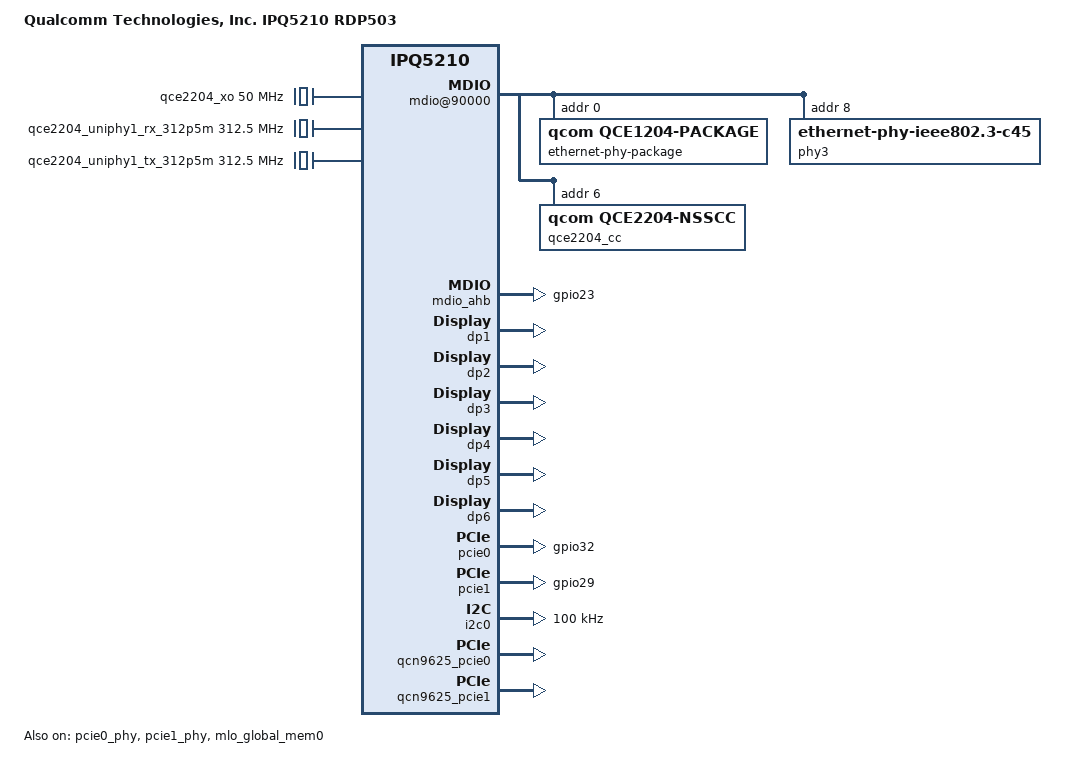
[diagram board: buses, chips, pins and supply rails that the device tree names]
// SPDX-License-Identifier: (GPL-2.0+ OR BSD-3-Clause)
/*
 * IPQ5210 RDP503 board device tree source
 *
 * Copyright (c) 2020-2021 The Linux Foundation. All rights reserved.
 * Copyright (c) Qualcomm Technologies, Inc. and/or its subsidiaries.
 */

/dts-v1/;

#include "ipq5210-rdp-common.dtsi"
#include <dt-bindings/clock/qcom,qce2204-nsscc.h>
#include <dt-bindings/reset/qcom,qce2204-nsscc.h>
#include "ipq5210-default-memory.dtsi"

/ {
	model = "Qualcomm Technologies, Inc. IPQ5210 RDP503";
	compatible = "qcom,ipq5210-rdp503", "qcom,ipq5210";

	aliases {
		serial0 = &uart1;
		ethernet0 = "/soc/dp1";
		ethernet1 = "/soc/dp2";
		ethernet2 = "/soc/dp3";
		ethernet3 = "/soc/dp4";
		ethernet4 = "/soc/dp5";
		ethernet5 = "/soc/dp6";
	};

	clocks {
		qce2204_xo: qce2204-xo {
			compatible = "fixed-clock";
			clock-frequency = <50000000>;
			#clock-cells = <0>;
		};

		qce2204_uniphy1_rx_312p5m: qce2204-uniphy1-rx-312p5m {
			compatible = "fixed-clock";
			clock-frequency = <312500000>;
			#clock-cells = <0>;
		};

		qce2204_uniphy1_tx_312p5m: qce2204-uniphy1-tx-312p5m {
			compatible = "fixed-clock";
			clock-frequency = <312500000>;
			#clock-cells = <0>;
		};
	};

	soc@0 {
		mdio@90000 {
			status = "okay";
			pinctrl-0 = <&mdio_pins &pon_cmn_pins &xgspon_pins>;
			pinctrl-names = "default";

			/* gpio reset for PHYs */
			phy-reset-gpio = <
				&tlmm 24 GPIO_ACTIVE_LOW
				&tlmm 45 GPIO_ACTIVE_LOW
			>;
			ethernet-phy-package@0 {
				compatible = "qcom,qce1204-package";
				#address-cells = <1>;
				#size-cells = <0>;
				reg = <0>;
				qcom,package-mode = "qusgmii";
				clocks =<&qce2204_cc QCE2204_NSSCC_SRDS1_SYS_CLK>,
					<&qce2204_cc QCE2204_NSSCC_MAC1_SRDS1_CH0_TX_CLK>,
					<&qce2204_cc QCE2204_NSSCC_MAC1_SRDS1_CH0_RX_CLK>,
					<&qce2204_cc QCE2204_NSSCC_MAC0_1_SRDS1_CH0_XGMII_TX_CLK>,
					<&qce2204_cc QCE2204_NSSCC_MAC0_1_SRDS1_CH0_XGMII_RX_CLK>,
					<&qce2204_cc QCE2204_NSSCC_MAC2_SRDS1_CH1_TX_CLK>,
					<&qce2204_cc QCE2204_NSSCC_MAC2_SRDS1_CH1_RX_CLK>,
					<&qce2204_cc QCE2204_NSSCC_MAC2_SRDS1_CH1_XGMII_TX_CLK>,
					<&qce2204_cc QCE2204_NSSCC_MAC2_SRDS1_CH1_XGMII_RX_CLK>,
					<&qce2204_cc QCE2204_NSSCC_MAC3_SRDS1_CH2_TX_CLK>,
					<&qce2204_cc QCE2204_NSSCC_MAC3_SRDS1_CH2_RX_CLK>,
					<&qce2204_cc QCE2204_NSSCC_MAC3_SRDS1_CH2_XGMII_TX_CLK>,
					<&qce2204_cc QCE2204_NSSCC_MAC3_SRDS1_CH2_XGMII_RX_CLK>,
					<&qce2204_cc QCE2204_NSSCC_AHB_CLK>,
					<&qce2204_uniphy1_rx_312p5m>,
					<&qce2204_uniphy1_tx_312p5m>;
				clock-names = "pcs_sys_clk",
					      "ch0_gmii_tx_clk",
					      "ch0_gmii_rx_clk",
					      "ch0_xgmii_tx_clk",
					      "ch0_xgmii_rx_clk",
					      "ch1_gmii_tx_clk",
					      "ch1_gmii_rx_clk",
					      "ch1_xgmii_tx_clk",
					      "ch1_xgmii_rx_clk",
					      "ch2_gmii_tx_clk",
					      "ch2_gmii_rx_clk",
					      "ch2_xgmii_tx_clk",
					      "ch2_xgmii_rx_clk",
					      "ahb_clk",
					      "tx_parent",
					      "rx_parent";
				resets = <&qce2204_cc QCE2204_NSSCC_SRDS1_SYS_ARES>,
					 <&qce2204_cc QCE2204_NSSCC_MAC1_SRDS1_CH0_TX_ARES>,
					 <&qce2204_cc QCE2204_NSSCC_MAC1_SRDS1_CH0_RX_ARES>,
					 <&qce2204_cc QCE2204_NSSCC_MAC0_1_SRDS1_CH0_XGMII_TX_ARES>,
					 <&qce2204_cc QCE2204_NSSCC_MAC0_1_SRDS1_CH0_XGMII_RX_ARES>,
					 <&qce2204_cc QCE2204_NSSCC_MAC2_SRDS1_CH1_TX_ARES>,
					 <&qce2204_cc QCE2204_NSSCC_MAC2_SRDS1_CH1_RX_ARES>,
					 <&qce2204_cc QCE2204_NSSCC_MAC2_SRDS1_CH1_XGMII_TX_ARES>,
					 <&qce2204_cc QCE2204_NSSCC_MAC2_SRDS1_CH1_XGMII_RX_ARES>,
					 <&qce2204_cc QCE2204_NSSCC_MAC3_SRDS1_CH2_TX_ARES>,
					 <&qce2204_cc QCE2204_NSSCC_MAC3_SRDS1_CH2_RX_ARES>,
					 <&qce2204_cc QCE2204_NSSCC_MAC3_SRDS1_CH2_XGMII_TX_ARES>,
					 <&qce2204_cc QCE2204_NSSCC_MAC3_SRDS1_CH2_XGMII_RX_ARES>,
					 <&qce2204_cc QCE2204_NSSCC_SRDS1_XPCS_ARES>;
				reset-names = "pcs_sys_reset",
					      "ch0_gmii_tx_reset",
					      "ch0_gmii_rx_reset",
					      "ch0_xgmii_tx_reset",
					      "ch0_xgmii_rx_reset",
					      "ch1_gmii_tx_reset",
					      "ch1_gmii_rx_reset",
					      "ch1_xgmii_tx_reset",
					      "ch1_xgmii_rx_reset",
					      "ch2_gmii_tx_reset",
					      "ch2_gmii_rx_reset",
					      "ch2_xgmii_tx_reset",
					      "ch2_xgmii_rx_reset",
					      "xpcs";

				phy0: ethernet-phy@0 {
					compatible = "ethernet-phy-ieee802.3-c45";
					reg = <0x0>;
					clocks = <&qce2204_cc QCE2204_NSSCC_MAC1_GEPHY0_TX_CLK>,
						 <&qce2204_cc QCE2204_NSSCC_MAC1_GEPHY0_RX_CLK>,
						 <&qce2204_cc QCE2204_NSSCC_GEPHY0_SYS_CLK>,
						 <&qce2204_cc QCE2204_NSSCC_MAC1_TX_CLK_SRC>,
						 <&qce2204_cc QCE2204_NSSCC_MAC1_RX_CLK_SRC>;
					clock-names = "tx_clk",
						      "rx_clk",
						      "sys_clk",
						      "tx_src_clk",
						      "rx_src_clk";
					resets = <&qce2204_cc QCE2204_NSSCC_MAC1_GEPHY0_TX_ARES>,
						 <&qce2204_cc QCE2204_NSSCC_MAC1_GEPHY0_RX_ARES>,
						 <&qce2204_cc QCE2204_NSSCC_GEPHY0_SYS_ARES>;
					reset-names = "tx_reset",
						      "rx_reset",
						      "sys_reset";
				};

				phy1: ethernet-phy@1 {
					compatible = "ethernet-phy-ieee802.3-c45";
					reg = <0x1>;
					clocks = <&qce2204_cc QCE2204_NSSCC_MAC2_GEPHY1_TX_CLK>,
						 <&qce2204_cc QCE2204_NSSCC_MAC2_GEPHY1_RX_CLK>,
						 <&qce2204_cc QCE2204_NSSCC_GEPHY1_SYS_CLK>,
						 <&qce2204_cc QCE2204_NSSCC_MAC2_TX_CLK_SRC>,
						 <&qce2204_cc QCE2204_NSSCC_MAC2_RX_CLK_SRC>;
					clock-names = "tx_clk",
						      "rx_clk",
						      "sys_clk",
						      "tx_src_clk",
						      "rx_src_clk";
					resets = <&qce2204_cc QCE2204_NSSCC_MAC2_GEPHY1_TX_ARES>,
						 <&qce2204_cc QCE2204_NSSCC_MAC2_GEPHY1_RX_ARES>,
						 <&qce2204_cc QCE2204_NSSCC_GEPHY1_SYS_ARES>;
					reset-names = "tx_reset",
						      "rx_reset",
						      "sys_reset";
				};

				phy2: ethernet-phy@2 {
					compatible = "ethernet-phy-ieee802.3-c45";
					reg = <0x2>;
					clocks = <&qce2204_cc QCE2204_NSSCC_MAC3_GEPHY2_TX_CLK>,
						 <&qce2204_cc QCE2204_NSSCC_MAC3_GEPHY2_RX_CLK>,
						 <&qce2204_cc QCE2204_NSSCC_GEPHY2_SYS_CLK>,
						 <&qce2204_cc QCE2204_NSSCC_MAC3_TX_CLK_SRC>,
						 <&qce2204_cc QCE2204_NSSCC_MAC3_RX_CLK_SRC>;
					clock-names = "tx_clk",
						      "rx_clk",
						      "sys_clk",
						      "tx_src_clk",
						      "rx_src_clk";
					resets = <&qce2204_cc QCE2204_NSSCC_MAC3_GEPHY2_TX_ARES>,
						 <&qce2204_cc QCE2204_NSSCC_MAC3_GEPHY2_RX_ARES>,
						 <&qce2204_cc QCE2204_NSSCC_GEPHY2_SYS_ARES>;
					reset-names = "tx_reset",
						      "rx_reset",
						      "sys_reset";
				};
			};

			phy3: ethernet-phy@8 {
				reg = <8>;
				compatible ="ethernet-phy-ieee802.3-c45";
			};

			/* Clock controller */
			qce2204_cc: clock-controller@6 {
				compatible = "qcom,qce2204-nsscc";
				reg = <6>;
				#clock-cells = <1>;
				#reset-cells = <1>;
				clocks = <&qce2204_xo>,
					 <0>,
					 <0>,
					 <0>,
					 <0>,
					 <0>,
					 <0>,
					 <0>,
					 <&qce2204_uniphy1_rx_312p5m>,
					 <&qce2204_uniphy1_tx_312p5m>;
				clock-names = "xo",
					      "uniphy0_rx",
					      "uniphy0_tx",
					      "uniphy1_rx",
					      "uniphy1_tx",
					      "uniphy1_ppe_250m",
					      "uniphy0_rx_312p5m",
					      "uniphy0_tx_312p5m",
					      "uniphy1_rx_312p5m",
					      "uniphy1_tx_312p5m";
				assigned-clocks = <&qce2204_cc QCE2204_NSSCC_SRDS1_RX_MUX_SEL>,
						  <&qce2204_cc QCE2204_NSSCC_SRDS1_TX_MUX_SEL>,
						  <&qce2204_cc QCE2204_NSSCC_SRDS1_XGMII_RX_MUX_SEL>,
						  <&qce2204_cc QCE2204_NSSCC_SRDS1_XGMII_TX_MUX_SEL>;
				assigned-clock-parents = <&qce2204_cc QCE2204_NSSCC_MAC1_TX_DIV_CLK_SRC>,
							 <&qce2204_cc QCE2204_NSSCC_MAC1_RX_DIV_CLK_SRC>,
							 <&qce2204_cc QCE2204_NSSCC_MAC1_SRDS1_CH0_XGMII_RX_DIV_CLK_SRC>,
							 <&qce2204_cc QCE2204_NSSCC_MAC1_SRDS1_CH0_XGMII_TX_DIV_CLK_SRC>;
			};
		};

		mdio_ahb: mdio-ahb@1400000 {
			status = "okay";
			compatible = "qcom,mdio-ahb-ipq52xx";
			reg = <0x1400000 0x200000>;  /* Base address: 0x1400000, Size: 2MB */
			clocks = <&gcc GCC_MDIO_GEPHY_AHB_CLK>,
				<&gcc GCC_GEPHY_SYS_CLK>,
				<&nsscc NSS_CC_EPHY_RX_CLK>,
				<&nsscc NSS_CC_EPHY_TX_CLK>,
				<&cmn_pll IPQ5210_EPHY_RAW_CLK>;
			clock-names = "mdio_gephy_ahb_clk",
				"gephy_sys_clk",
				"gephy_rx_clk",
				"gephy_tx_clk",
				"gephy_raw_clk";

			resets = <&gcc GCC_GEPHY_SYS_ARES>,
				 <&nsscc NSS_CC_EPHY_RX_CLK_ARES>,
				 <&nsscc NSS_CC_EPHY_TX_CLK_ARES>;
			reset-names = "gephy_sys_reset",
				 "gephy_rx_reset",
				 "gephy_tx_reset";

			pinctrl-0 = <&phy_led0>;
			pinctrl-names = "default";
		};

		ess-instance {
			num_devices = <0x1>;

			ess_switch: ess-switch@3a000000 {
				switch_lan_bmp = <0x3e>; /* lan port bitmap */
				switch_wan_bmp = <0x40>; /* wan port bitmap */
				switch_mac_mode = <0x15>; /* UQXGMII for qce1204 PHY */
				switch_mac_mode1 = <0xd>; /* USXGMII for Laguna PHY */
				switch_mac_mode2 = <0xff>;

				qcom,port_phyinfo {
					port@0 {
						port_id = <1>;
						phy_address = <0>;
						phy-handle = <&phy0>;
						phy-mode = "qusgmii";
						port_mac_sel = "QGMAC_PORT";
						ethernet-phy-ieee802.3-c45;
					};
					port@1 {
						port_id = <2>;
						phy_address = <1>;
						phy-handle = <&phy1>;
						phy-mode = "qusgmii";
						port_mac_sel = "QGMAC_PORT";
						ethernet-phy-ieee802.3-c45;
					};
					port@2 {
						port_id = <3>;
						phy_address = <2>;
						phy-handle = <&phy2>;
						phy-mode = "qusgmii";
						port_mac_sel = "QGMAC_PORT";
						ethernet-phy-ieee802.3-c45;
					};
					port@3 {
						port_id = <4>;
						phy-mode = "internal";
					};
					port@4 {
						port_id = <5>;
						phy_address = <8>;
						phy-handle = <&phy3>;
						phy-mode = "usxgmii";
						ethernet-phy-ieee802.3-c45;
					};
					port@5 {
						port_id = <6>;
						forced-speed = <10000>;
						forced-duplex = <1>;
						fixed-link {
							speed = <10000>;
							full-duplex;
							pause;
						};
					};
				};
			};
		};

		dp1 {
			device_type = "network";
			compatible = "qcom,nss-dp";
			qcom,id = <1>;
			reg = <0x3a001000 0x200>;
			qcom,mactype = <0>;
			local-mac-address = [000000000000];
			qcom,ppe-offload-disabled = <0>;
		};

		dp2 {
			device_type = "network";
			compatible = "qcom,nss-dp";
			qcom,id = <2>;
			reg = <0x3a001200 0x200>;
			qcom,mactype = <0>;
			local-mac-address = [000000000000];
			qcom,ppe-offload-disabled = <0>;
		};


		dp3 {
			device_type = "network";
			compatible = "qcom,nss-dp";
			qcom,id = <3>;
			reg = <0x3a001400 0x200>;
			qcom,mactype = <0>;
			local-mac-address = [000000000000];
			qcom,ppe-offload-disabled = <0>;
		};

		dp4 {
			device_type = "network";
			compatible = "qcom,nss-dp";
			qcom,id = <4>;
			reg = <0x3a001600 0x200>;
			qcom,mactype = <0>;
			local-mac-address = [000000000000];
			qcom,ppe-offload-disabled = <0>;
		};

		dp5 {
			device_type = "network";
			compatible = "qcom,nss-dp";
			qcom,id = <5>;
			reg = <0x3A504000 0x4000>;
			qcom,mactype = <1>;
			local-mac-address = [000000000000];
			qcom,ppe-offload-disabled = <0>;
			pinctrl-0 = <&pps_state>;
			pinctrl-names = "default";
			interrupts = <GIC_SPI 359 IRQ_TYPE_EDGE_RISING>;
			interrupt-names = "pps_in";
			clocks = <&nsscc NSS_CC_XGMAC1_PTP_REF_CLK>;
			clock-names = "ptp";
		};

		dp6 {
			device_type = "network";
			compatible = "qcom,nss-dp";
			qcom,id = <6>;
			reg = <0x3A508000 0x4000>;
			qcom,mactype = <1>;
			local-mac-address = [000000000000];
			qcom,ppe-offload-disabled = <0>;
			qcom,gem_port = <1>;
			clocks = <&nsscc NSS_CC_XGMAC2_PTP_REF_CLK>;
			clock-names = "ptp";
		};
	};
};

&tlmm {
	pcie0_default_state: pcie0-default-state {
		pins = "gpio32";
		function = "gpio";
		drive-strength = <6>;
		bias-pull-down;
		output-low;
	};

	pcie1_default_state: pcie1-default-state {
		pins = "gpio29";
		function = "gpio";
		drive-strength = <6>;
		bias-pull-down;
		output-low;
	};

	qup_i2c0_default: qup-i2c0-default-state {
		qup_i2c0_scl {
			pins = "gpio20";
			function = "qup_se2_l10";
			drive-strength = <8>;
			bias-disable;
		};

		qup_i2c0_sda {
			pins = "gpio21";
			function = "qup_se2_l00";
			drive-strength = <8>;
			bias-disable;
		};
	};

	phy_led0: phy-led0-state {
		pins = "gpio23";
		function = "Led00";
		drive-strength = <2>;
		bias-pull-down;
	};
};

&pcie0_phy {
	status = "okay";
};

&pcie0 {
	pinctrl-0 = <&pcie0_default_state>;
	perst-gpio = <&tlmm 32 GPIO_ACTIVE_LOW>;
	status = "okay";

	pcie0_rp {
		reg = <0 0 0 0 0>;
		qcom,mhi@0 {
			reg = <0 0 0 0 0>;
			memory-region = <&qcn9625_pcie0>, <&mlo_global_mem0>;
			memory-region-names = "host-ddr-mem", "mlo-global-mem";
			qcom,board_id = <0x5005>;
			qcom,wsi-controller;

			ports {
				#address-cells = <1>;
				#size-cells = <0>;

				port@0 {
					reg = <0>;

					wifi0_wsi_tx: endpoint {
						remote-endpoint = <&wifi1_wsi_rx>;
					};
				};

				port@1 {
					reg = <1>;

					wifi0_wsi_rx: endpoint {
						remote-endpoint = <&wifi1_wsi_tx>;
					};
				};
			};
		};
	};
};

&pcie1_phy {
	status = "okay";
};

&pcie1 {
	pinctrl-0 = <&pcie1_default_state>;
	perst-gpio = <&tlmm 29 GPIO_ACTIVE_LOW>;
	status = "okay";

	pcie1_rp {
		reg = <0 0 0 0 0>;
		qcom,mhi@1 {
			reg = <0 0 0 0 0>;
			memory-region = <&qcn9625_pcie1>, <&mlo_global_mem0>;
			memory-region-names = "host-ddr-mem", "mlo-global-mem";
			qcom,board_id = <0x2002>;

			ports {
				#address-cells = <1>;
				#size-cells = <0>;

				port@0 {
					reg = <0>;

					wifi1_wsi_tx: endpoint {
						remote-endpoint = <&wifi0_wsi_rx>;
					};
				};

				port@1 {
					reg = <1>;

					wifi1_wsi_rx: endpoint {
						remote-endpoint = <&wifi0_wsi_tx>;
					};

				};
			};
		};
	};
};

&i2c0 {
	clock-frequency = <100000>;

	status = "okay";
};

&qcn9625_pcie0 {
	status = "okay";
};

&qcn9625_pcie1 {
	status = "okay";
};

&mlo_global_mem0 {
	status = "okay";
};
